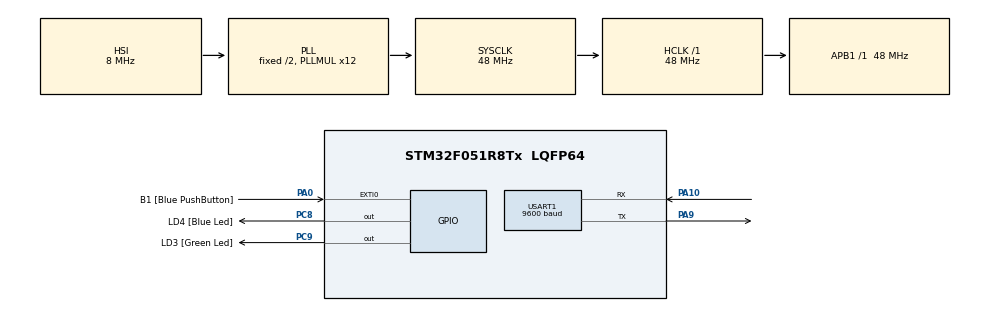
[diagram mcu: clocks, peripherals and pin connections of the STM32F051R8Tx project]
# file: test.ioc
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Mcu.Family=STM32F0
Mcu.Name=STM32F051R8Tx
Mcu.Package=LQFP64
NVIC.USART1_IRQn=true\:0\:0\:false\:false\:true\:true\:true
PA0.GPIO_Label=B1 [Blue PushButton]
PA0.GPIO_ModeDefaultEXTI=GPIO_MODE_EVT_RISING
PA0.Signal=GPXTI0
PA10.Mode=Asynchronous
PA10.Signal=USART1_RX
PA13.GPIO_Label=SWDIO
PA13.Mode=Serial_Wire
PA13.Signal=SYS_SWDIO
PA14.GPIO_Label=SWCLK
PA14.Mode=Serial_Wire
PA14.Signal=SYS_SWCLK
PA9.Mode=Asynchronous
PA9.Signal=USART1_TX
PC8.GPIO_Label=LD4 [Blue Led]
PC8.Signal=GPIO_Output
PC9.GPIO_Label=LD3 [Green Led]
PC9.Signal=GPIO_Output
ProjectManager.HeapSize=0x200
ProjectManager.StackSize=0x400
ProjectManager.TargetToolchain=Makefile
RCC.AHBFreq_Value=48000000
RCC.APB1Freq_Value=48000000
RCC.APB1TimFreq_Value=48000000
RCC.HCLKFreq_Value=48000000
RCC.PLLMUL=RCC_PLL_MUL12
RCC.SYSCLKFreq_VALUE=48000000
RCC.SYSCLKSource=RCC_SYSCLKSOURCE_PLLCLK
USART1.BaudRate=9600
USART1.VirtualMode-Asynchronous=VM_ASYNC
board=STM32F0DISCOVERY

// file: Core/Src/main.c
/* USER CODE BEGIN Header */
/**
  ******************************************************************************
  * @file           : main.c
  * @brief          : Main program body
  ******************************************************************************
  * @attention
  *
  * <h2><center>&copy; Copyright (c) 2021 STMicroelectronics.
  * All rights reserved.</center></h2>
  *
  * This software component is licensed by ST under BSD 3-Clause license,
  * the "License"; You may not use this file except in compliance with the
  * License. You may obtain a copy of the License at:
  *                        opensource.org/licenses/BSD-3-Clause
  *
  ******************************************************************************
  */
/* USER CODE END Header */
#include "main.h"

UART_HandleTypeDef huart1;

void SystemClock_Config(void);
static void MX_GPIO_Init(void);
static void MX_USART1_UART_Init(void);

/* USER CODE BEGIN 0 */

#if defined(__GNUC__)
int _write(int fd, char *ptr, int len)
{
    HAL_UART_Transmit(&huart1, (uint8_t *)ptr, len, HAL_MAX_DELAY);
    return len;
}
#elif defined(__ICCARM__)
#include "LowLevelIOInterface.h"
size_t __write(int handle, const unsigned char *buffer, size_t size)
{
    HAL_UART_Transmit(&huart1, (uint8_t *)buffer, size, HAL_MAX_DELAY);
    return size;
}
#elif defined(__CC_ARM)
int fputc(int ch, FILE *f)
{
    HAL_UART_Transmit(&huart1, (uint8_t *)&ch, 1, HAL_MAX_DELAY);
    return ch;
}
#endif

#define MAX_BUFFER_SIZE 100

char Rx_data[2], Rx_Buffer[MAX_BUFFER_SIZE];
uint8_t Transfer_cplt, Rx_indx = 0;
uint8_t errorcode = 0, maintask = 0;

uint8_t decode_cmd()
{
    HAL_GPIO_WritePin(GPIOC, GPIO_PIN_8, 0);
    HAL_GPIO_WritePin(GPIOC, GPIO_PIN_9, 0);
    if (strcmp(Rx_Buffer, "blink1") == 0)
    {
        return 1;
    }
    else if (strcmp(Rx_Buffer, "blink2") == 0)
    {
        return 2;
    }
    else if (strcmp(Rx_Buffer, "blink3") == 0)
    {
        return 3;
    }
    else
    {
        return 0;
    }
}

void HAL_UART_RxCpltCallback(UART_HandleTypeDef *huart)
{
    uint8_t i;
    HAL_StatusTypeDef ret;
    // if (huart->Instance == USART1) //current UART
    // {
    if (Rx_indx >= MAX_BUFFER_SIZE)
    {
        Rx_indx = 0;
        for (i = 0; i < MAX_BUFFER_SIZE; i++)
        {
            Rx_Buffer[i] = '\0';
        }
    } //clear Rx_Buffer before receiving new data

    if (Rx_data[0] != 13 && Rx_data[0] != 10) //if received data different from ascii 13 (enter)
    {
        Rx_Buffer[Rx_indx++] = Rx_data[0]; //add data to Rx_Buffer
    }
    else //if received data = 13
    {
        Rx_indx = 0;
        Transfer_cplt = 1; //transfer complete, data is ready to read
        maintask = decode_cmd();
    }
    // HAL_UART_GetState(&huart1);

    ret = HAL_UART_Receive_IT(&huart1, Rx_data, 1); //activate UART receive interrupt every time
    if (ret == HAL_OK)
    {
        HAL_GPIO_TogglePin(GPIOC, GPIO_PIN_8);
    }
    else
    {
        errorcode = (uint8_t)ret;
    }

    // }
}

/* USER CODE END 0 */

int main(void)
{

    /* MCU Configuration--------------------------------------------------------*/

    /* Reset of all peripherals, Initializes the Flash interface and the Systick. */
    HAL_Init();

    /* Configure the system clock */
    SystemClock_Config();

    /* Initialize all configured peripherals */
    MX_GPIO_Init();
    MX_USART1_UART_Init();
    /* USER CODE BEGIN 2 */
    HAL_UART_Receive_IT(&huart1, Rx_data, 1);
    /* USER CODE END 2 */

    /* Infinite loop */
    /* USER CODE BEGIN WHILE */
    char tmp[10] = "hello\n";
    int idx = 0;
    uint8_t delay_param = 1000;
    while (1)
    {
        if (maintask == 1)
        {
            HAL_GPIO_TogglePin(GPIOC, GPIO_PIN_9);
            delay_param = 200;
        }
        else if (maintask == 2)
        {
            HAL_GPIO_TogglePin(GPIOC, GPIO_PIN_8);
            delay_param = 200;
        }
        else if (maintask == 3)
        {
            HAL_GPIO_TogglePin(GPIOC, GPIO_PIN_9);
            HAL_GPIO_TogglePin(GPIOC, GPIO_PIN_8);
            delay_param = 20;
        }
        else
        {
            HAL_GPIO_TogglePin(GPIOC, GPIO_PIN_8);
            HAL_GPIO_TogglePin(GPIOC, GPIO_PIN_9);
            delay_param = 1000;
        }

        if (Transfer_cplt == 1)
        {
            HAL_UART_Transmit(&huart1, (uint8_t *)&Rx_Buffer, strlen(Rx_Buffer), 100);
            if (maintask != 0)
            {
                printf(" >> OK\n");
            }
            else
            {
                printf("\n");
            }

            Transfer_cplt = 0;
        }
        // printf("hello >> %u\n", idx++);
        HAL_Delay(delay_param);
        /* USER CODE END WHILE */

    }
}

void SystemClock_Config(void)
{
    RCC_OscInitTypeDef RCC_OscInitStruct = {0};
    RCC_ClkInitTypeDef RCC_ClkInitStruct = {0};
    RCC_PeriphCLKInitTypeDef PeriphClkInit = {0};

    /** Initializes the RCC Oscillators according to the specified parameters
  * in the RCC_OscInitTypeDef structure.
  */
    RCC_OscInitStruct.OscillatorType = RCC_OSCILLATORTYPE_HSI;
    RCC_OscInitStruct.HSIState = RCC_HSI_ON;
    RCC_OscInitStruct.HSICalibrationValue = RCC_HSICALIBRATION_DEFAULT;
    RCC_OscInitStruct.PLL.PLLState = RCC_PLL_ON;
    RCC_OscInitStruct.PLL.PLLSource = RCC_PLLSOURCE_HSI;
    RCC_OscInitStruct.PLL.PLLMUL = RCC_PLL_MUL12;
    RCC_OscInitStruct.PLL.PREDIV = RCC_PREDIV_DIV1;
    if (HAL_RCC_OscConfig(&RCC_OscInitStruct) != HAL_OK)
    {
        Error_Handler();
    }
    /** Initializes the CPU, AHB and APB buses clocks
  */
    RCC_ClkInitStruct.ClockType = RCC_CLOCKTYPE_HCLK | RCC_CLOCKTYPE_SYSCLK | RCC_CLOCKTYPE_PCLK1;
    RCC_ClkInitStruct.SYSCLKSource = RCC_SYSCLKSOURCE_PLLCLK;
    RCC_ClkInitStruct.AHBCLKDivider = RCC_SYSCLK_DIV1;
    RCC_ClkInitStruct.APB1CLKDivider = RCC_HCLK_DIV1;

    if (HAL_RCC_ClockConfig(&RCC_ClkInitStruct, FLASH_LATENCY_1) != HAL_OK)
    {
        Error_Handler();
    }
    PeriphClkInit.PeriphClockSelection = RCC_PERIPHCLK_USART1;
    PeriphClkInit.Usart1ClockSelection = RCC_USART1CLKSOURCE_PCLK1;
    if (HAL_RCCEx_PeriphCLKConfig(&PeriphClkInit) != HAL_OK)
    {
        Error_Handler();
    }
}

static void MX_USART1_UART_Init(void)
{

    huart1.Instance = USART1;
    huart1.Init.BaudRate = 9600;
    huart1.Init.WordLength = UART_WORDLENGTH_8B;
    huart1.Init.StopBits = UART_STOPBITS_1;
    huart1.Init.Parity = UART_PARITY_NONE;
    huart1.Init.Mode = UART_MODE_TX_RX;
    huart1.Init.HwFlowCtl = UART_HWCONTROL_NONE;
    huart1.Init.OverSampling = UART_OVERSAMPLING_16;
    huart1.Init.OneBitSampling = UART_ONE_BIT_SAMPLE_DISABLE;
    huart1.AdvancedInit.AdvFeatureInit = UART_ADVFEATURE_NO_INIT;
    if (HAL_UART_Init(&huart1) != HAL_OK)
    {
        Error_Handler();
    }
}

static void MX_GPIO_Init(void)
{
    GPIO_InitTypeDef GPIO_InitStruct = {0};

    /* GPIO Ports Clock Enable */
    __HAL_RCC_GPIOA_CLK_ENABLE();
    __HAL_RCC_GPIOC_CLK_ENABLE();

    /*Configure GPIO pin Output Level */
    HAL_GPIO_WritePin(GPIOC, LD4_Pin | LD3_Pin, GPIO_PIN_RESET);

    /*Configure GPIO pin : B1_Pin */
    GPIO_InitStruct.Pin = B1_Pin;
    GPIO_InitStruct.Mode = GPIO_MODE_EVT_RISING;
    GPIO_InitStruct.Pull = GPIO_NOPULL;
    HAL_GPIO_Init(B1_GPIO_Port, &GPIO_InitStruct);

    /*Configure GPIO pins : LD4_Pin LD3_Pin */
    GPIO_InitStruct.Pin = LD4_Pin | LD3_Pin;
    GPIO_InitStruct.Mode = GPIO_MODE_OUTPUT_PP;
    GPIO_InitStruct.Pull = GPIO_NOPULL;
    GPIO_InitStruct.Speed = GPIO_SPEED_FREQ_LOW;
    HAL_GPIO_Init(GPIOC, &GPIO_InitStruct);
}

void Error_Handler(void)
{
    __disable_irq();
    while (1)
    {
    }
}

/************************ (C) COPYRIGHT STMicroelectronics *****END OF FILE****/
